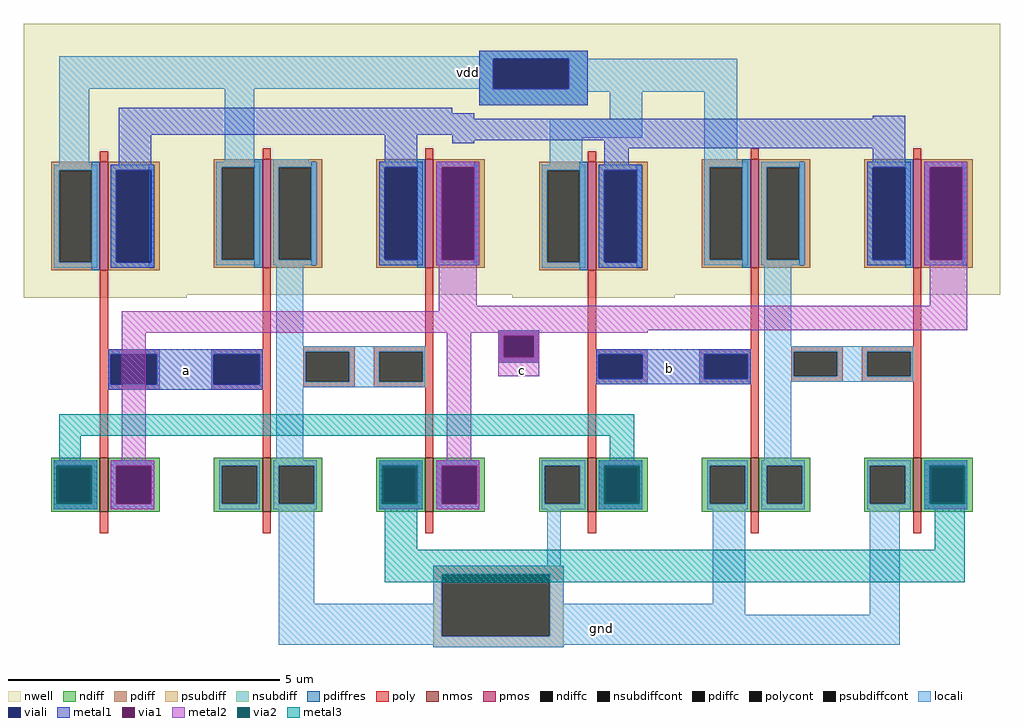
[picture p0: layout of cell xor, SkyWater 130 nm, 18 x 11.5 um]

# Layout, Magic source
magic
tech sky130A
<< nwell >>
rect -350 -100 1450 400
rect -350 -105 -50 -100
rect 550 -105 850 -100
<< nmos >>
rect -210 -500 -195 -400
rect 90 -500 105 -400
rect 390 -500 405 -400
rect 690 -500 705 -400
rect 990 -500 1005 -400
rect 1290 -500 1305 -400
<< pmos >>
rect -210 -55 -195 145
rect 90 -50 105 150
rect 390 -50 405 150
rect 690 -55 705 145
rect 990 -50 1005 150
rect 1290 -50 1305 150
<< ndiff >>
rect -300 -415 -210 -400
rect -300 -485 -290 -415
rect -225 -485 -210 -415
rect -300 -500 -210 -485
rect -195 -415 -100 -400
rect -195 -485 -180 -415
rect -115 -485 -100 -415
rect -195 -500 -100 -485
rect 0 -415 90 -400
rect 0 -485 15 -415
rect 80 -485 90 -415
rect 0 -500 90 -485
rect 105 -415 200 -400
rect 105 -485 120 -415
rect 185 -485 200 -415
rect 105 -500 200 -485
rect 300 -415 390 -400
rect 300 -485 310 -415
rect 375 -485 390 -415
rect 300 -500 390 -485
rect 405 -415 500 -400
rect 405 -485 420 -415
rect 485 -485 500 -415
rect 405 -500 500 -485
rect 600 -415 690 -400
rect 600 -485 610 -415
rect 675 -485 690 -415
rect 600 -500 690 -485
rect 705 -415 800 -400
rect 705 -485 720 -415
rect 785 -485 800 -415
rect 705 -500 800 -485
rect 900 -415 990 -400
rect 900 -485 915 -415
rect 980 -485 990 -415
rect 900 -500 990 -485
rect 1005 -415 1100 -400
rect 1005 -485 1020 -415
rect 1085 -485 1100 -415
rect 1005 -500 1100 -485
rect 1200 -415 1290 -400
rect 1200 -485 1210 -415
rect 1275 -485 1290 -415
rect 1200 -500 1290 -485
rect 1305 -415 1400 -400
rect 1305 -485 1320 -415
rect 1385 -485 1400 -415
rect 1305 -500 1400 -485
<< pdiff >>
rect -300 130 -225 145
rect -300 -40 -285 130
rect -300 -55 -225 -40
rect -195 140 -100 145
rect -195 130 -120 140
rect -195 -40 -180 130
rect -195 -50 -120 -40
rect -110 -50 -100 140
rect 0 135 75 150
rect 0 -35 15 135
rect 0 -50 75 -35
rect 105 145 200 150
rect 105 135 180 145
rect 105 -35 120 135
rect 105 -45 180 -35
rect 190 -45 200 145
rect 105 -50 200 -45
rect 300 135 375 150
rect 300 -35 315 135
rect 300 -50 375 -35
rect 405 145 500 150
rect 405 135 480 145
rect 405 -35 420 135
rect 405 -45 480 -35
rect 490 -45 500 145
rect 405 -50 500 -45
rect 600 130 675 145
rect 600 -40 615 130
rect -195 -55 -100 -50
rect 600 -55 675 -40
rect 705 140 800 145
rect 705 130 780 140
rect 705 -40 720 130
rect 705 -50 780 -40
rect 790 -50 800 140
rect 900 135 975 150
rect 900 -35 915 135
rect 900 -50 975 -35
rect 1005 145 1100 150
rect 1005 135 1080 145
rect 1005 -35 1020 135
rect 1005 -45 1080 -35
rect 1090 -45 1100 145
rect 1005 -50 1100 -45
rect 1200 135 1275 150
rect 1200 -35 1215 135
rect 1200 -50 1275 -35
rect 1305 145 1400 150
rect 1305 135 1380 145
rect 1305 -35 1320 135
rect 1305 -45 1380 -35
rect 1390 -45 1400 145
rect 1305 -50 1400 -45
rect 705 -55 800 -50
<< ndiffc >>
rect -290 -485 -225 -415
rect -180 -485 -115 -415
rect 15 -485 80 -415
rect 120 -485 185 -415
rect 310 -485 375 -415
rect 420 -485 485 -415
rect 610 -485 675 -415
rect 720 -485 785 -415
rect 915 -485 980 -415
rect 1020 -485 1085 -415
rect 1210 -485 1275 -415
rect 1320 -485 1385 -415
<< pdiffc >>
rect -285 -40 -225 130
rect -180 -40 -120 130
rect 15 -35 75 135
rect 120 -35 180 135
rect 315 -35 375 135
rect 420 -35 480 135
rect 615 -40 675 130
rect 720 -40 780 130
rect 915 -35 975 135
rect 1020 -35 1080 135
rect 1215 -35 1275 135
rect 1320 -35 1380 135
<< psubdiff >>
rect 405 -615 645 -600
rect 405 -730 420 -615
rect 620 -730 645 -615
rect 405 -750 645 -730
<< nsubdiff >>
rect 490 335 690 350
rect 490 280 515 335
rect 655 280 690 335
rect 490 250 690 280
<< psubdiffcont >>
rect 420 -730 620 -615
<< nsubdiffcont >>
rect 515 280 655 335
<< poly >>
rect -210 145 -195 165
rect 90 150 105 170
rect 390 150 405 170
rect 690 145 705 165
rect 990 150 1005 170
rect 1290 150 1305 170
rect -210 -200 -195 -55
rect 90 -200 105 -50
rect 390 -195 405 -50
rect -210 -210 -100 -200
rect -210 -265 -190 -210
rect -105 -265 -100 -210
rect -210 -275 -100 -265
rect -5 -210 105 -200
rect -5 -265 0 -210
rect 85 -265 105 -210
rect -5 -275 105 -265
rect 165 -205 260 -195
rect 165 -260 170 -205
rect 250 -260 260 -205
rect 165 -270 260 -260
rect 295 -205 405 -195
rect 295 -260 305 -205
rect 385 -260 405 -205
rect 525 -175 600 -165
rect 525 -215 535 -175
rect 590 -215 600 -175
rect 525 -225 600 -215
rect 690 -200 705 -55
rect 990 -200 1005 -50
rect 1290 -195 1305 -50
rect 690 -210 800 -200
rect 295 -270 405 -260
rect -210 -400 -195 -275
rect 90 -400 105 -275
rect 390 -400 405 -270
rect 690 -255 710 -210
rect 790 -255 800 -210
rect 690 -265 800 -255
rect 895 -210 1005 -200
rect 895 -255 905 -210
rect 985 -255 1005 -210
rect 895 -265 1005 -255
rect 1065 -205 1160 -195
rect 1065 -250 1070 -205
rect 1150 -250 1160 -205
rect 1065 -260 1160 -250
rect 1195 -205 1305 -195
rect 1195 -250 1205 -205
rect 1285 -250 1305 -205
rect 1195 -260 1305 -250
rect 690 -400 705 -265
rect 990 -400 1005 -265
rect 1290 -400 1305 -260
rect -210 -540 -195 -500
rect 90 -540 105 -500
rect 390 -540 405 -500
rect 690 -540 705 -500
rect 990 -540 1005 -500
rect 1290 -540 1305 -500
<< polycont >>
rect -190 -265 -105 -210
rect 0 -265 85 -210
rect 170 -260 250 -205
rect 305 -260 385 -205
rect 535 -215 590 -175
rect 710 -255 790 -210
rect 905 -255 985 -210
rect 1070 -250 1150 -205
rect 1205 -250 1285 -205
<< pdiffres >>
rect -225 -55 -210 145
rect -120 -50 -110 140
rect 75 -50 90 150
rect 180 -45 190 145
rect 375 -50 390 150
rect 480 -45 490 145
rect 675 -55 690 145
rect 780 -50 790 140
rect 975 -50 990 150
rect 1080 -45 1090 145
rect 1275 -50 1290 150
rect 1380 -45 1390 145
<< locali >>
rect 490 340 690 350
rect -285 335 690 340
rect -285 280 515 335
rect 655 280 965 335
rect -285 140 -230 280
rect 20 145 75 280
rect 490 275 965 280
rect 490 250 690 275
rect 730 225 790 275
rect 620 190 790 225
rect 110 145 175 150
rect -295 130 -215 140
rect -295 -40 -285 130
rect -225 -40 -215 130
rect -295 -50 -215 -40
rect -190 130 -110 140
rect -190 -40 -180 130
rect -115 -40 -110 130
rect -190 -50 -110 -40
rect 5 135 85 145
rect 5 -35 15 135
rect 75 -35 85 135
rect 5 -45 85 -35
rect 110 135 190 145
rect 110 -35 120 135
rect 180 -35 190 135
rect 110 -45 190 -35
rect 305 135 385 145
rect 305 -35 315 135
rect 375 -35 385 135
rect 305 -45 385 -35
rect 410 135 490 145
rect 620 140 680 190
rect 905 145 965 275
rect 410 -35 420 135
rect 480 -35 490 135
rect 410 -45 490 -35
rect 605 130 685 140
rect 605 -40 615 130
rect 675 -40 685 130
rect 115 -195 165 -45
rect 605 -50 685 -40
rect 710 130 790 140
rect 710 -40 720 130
rect 780 -40 790 130
rect 710 -50 790 -40
rect 905 135 985 145
rect 905 -35 915 135
rect 975 -35 985 135
rect 905 -45 985 -35
rect 1010 135 1090 145
rect 1010 -35 1020 135
rect 1080 -35 1090 135
rect 1010 -45 1090 -35
rect 1205 135 1285 145
rect 1205 -35 1215 135
rect 1275 -35 1285 135
rect 1205 -45 1285 -35
rect 1310 135 1390 145
rect 1310 -35 1320 135
rect 1380 -35 1390 135
rect 1310 -45 1390 -35
rect 525 -175 600 -165
rect -195 -210 -100 -200
rect -195 -265 -190 -210
rect -105 -265 -100 -210
rect -195 -275 -100 -265
rect -5 -210 90 -200
rect -5 -265 0 -210
rect 85 -265 90 -210
rect -5 -275 90 -265
rect 115 -205 390 -195
rect 115 -260 170 -205
rect 250 -260 305 -205
rect 385 -260 390 -205
rect 525 -215 535 -175
rect 590 -215 600 -175
rect 1015 -195 1065 -45
rect 525 -225 600 -215
rect 705 -210 800 -200
rect 115 -270 390 -260
rect 705 -255 710 -210
rect 790 -255 800 -210
rect 705 -265 800 -255
rect 895 -210 990 -200
rect 895 -255 905 -210
rect 985 -255 990 -210
rect 895 -265 990 -255
rect 1015 -205 1290 -195
rect 1015 -250 1070 -205
rect 1150 -250 1205 -205
rect 1285 -250 1290 -205
rect 1015 -260 1290 -250
rect 115 -405 165 -270
rect 1015 -405 1065 -260
rect -295 -415 -215 -405
rect -295 -485 -290 -415
rect -225 -485 -215 -415
rect -295 -495 -215 -485
rect -190 -415 -110 -405
rect -190 -485 -180 -415
rect -115 -485 -110 -415
rect -190 -495 -110 -485
rect 10 -415 85 -405
rect 10 -485 15 -415
rect 80 -485 85 -415
rect 10 -495 85 -485
rect 110 -415 190 -405
rect 110 -485 120 -415
rect 185 -485 190 -415
rect 110 -495 190 -485
rect 305 -415 385 -405
rect 305 -485 310 -415
rect 375 -485 385 -415
rect 305 -495 385 -485
rect 410 -415 490 -405
rect 410 -485 420 -415
rect 485 -485 490 -415
rect 410 -495 490 -485
rect 605 -415 685 -405
rect 605 -485 610 -415
rect 675 -485 685 -415
rect 605 -495 685 -485
rect 710 -415 790 -405
rect 710 -485 720 -415
rect 785 -485 790 -415
rect 710 -495 790 -485
rect 910 -415 985 -405
rect 910 -485 915 -415
rect 980 -485 985 -415
rect 910 -495 985 -485
rect 1010 -415 1090 -405
rect 1010 -485 1020 -415
rect 1085 -485 1090 -415
rect 1010 -495 1090 -485
rect 1205 -415 1285 -405
rect 1205 -485 1210 -415
rect 1275 -485 1285 -415
rect 1205 -495 1285 -485
rect 1310 -415 1390 -405
rect 1310 -485 1320 -415
rect 1385 -485 1390 -415
rect 1310 -495 1390 -485
rect 120 -670 185 -495
rect 615 -600 640 -495
rect 405 -615 645 -600
rect 405 -670 420 -615
rect 120 -730 420 -670
rect 620 -670 645 -615
rect 920 -670 980 -495
rect 620 -690 980 -670
rect 1210 -690 1265 -495
rect 620 -730 1265 -690
rect 120 -745 1265 -730
rect 405 -750 645 -745
<< viali >>
rect 515 280 655 335
rect -180 -40 -120 130
rect -120 -40 -115 130
rect 315 -35 375 135
rect 420 -35 480 135
rect 720 -40 780 130
rect 1215 -35 1275 135
rect 1320 -35 1380 135
rect -190 -265 -105 -210
rect 0 -265 85 -210
rect 535 -215 590 -175
rect 710 -255 790 -210
rect 905 -255 985 -210
rect -290 -485 -225 -415
rect -180 -485 -115 -415
rect 310 -485 375 -415
rect 420 -485 485 -415
rect 720 -485 785 -415
rect 1320 -485 1385 -415
<< metal1 >>
rect 490 335 690 350
rect 490 280 515 335
rect 655 280 690 335
rect 490 250 690 280
rect -175 235 440 245
rect -175 225 480 235
rect 1215 225 1275 230
rect -175 195 1275 225
rect -175 140 -115 195
rect 315 145 375 195
rect 440 185 1275 195
rect 440 180 480 185
rect 720 170 1275 185
rect -190 130 -110 140
rect -190 -40 -180 130
rect -115 -40 -110 130
rect -190 -50 -110 -40
rect 305 135 385 145
rect 305 -35 315 135
rect 375 -35 385 135
rect 305 -45 385 -35
rect 410 135 490 145
rect 720 140 765 170
rect 1215 145 1275 170
rect 410 -35 420 135
rect 480 -35 490 135
rect 410 -45 490 -35
rect 710 130 790 140
rect 710 -40 720 130
rect 780 -40 790 130
rect 710 -50 790 -40
rect 1205 135 1285 145
rect 1205 -35 1215 135
rect 1275 -35 1285 135
rect 1205 -45 1285 -35
rect 1310 135 1390 145
rect 1310 -35 1320 135
rect 1380 -35 1390 135
rect 1310 -45 1390 -35
rect 525 -175 600 -165
rect -195 -210 90 -200
rect -195 -265 -190 -210
rect -105 -265 0 -210
rect 85 -265 90 -210
rect 525 -215 535 -175
rect 590 -215 600 -175
rect 525 -225 600 -215
rect 705 -210 990 -200
rect 705 -255 710 -210
rect 790 -255 905 -210
rect 985 -255 990 -210
rect 705 -265 990 -255
rect -195 -275 90 -265
rect -295 -415 -215 -405
rect -295 -485 -290 -415
rect -225 -485 -215 -415
rect -295 -495 -215 -485
rect -190 -415 -110 -405
rect -190 -485 -180 -415
rect -115 -485 -110 -415
rect -190 -495 -110 -485
rect 305 -415 385 -405
rect 305 -485 310 -415
rect 375 -485 385 -415
rect 305 -495 385 -485
rect 410 -415 490 -405
rect 410 -485 420 -415
rect 485 -485 490 -415
rect 410 -495 490 -485
rect 710 -415 790 -405
rect 710 -485 720 -415
rect 785 -485 790 -415
rect 710 -495 790 -485
rect 1310 -415 1390 -405
rect 1310 -485 1320 -415
rect 1385 -485 1390 -415
rect 1310 -495 1390 -485
<< via1 >>
rect 420 -35 480 135
rect 1320 -35 1380 135
rect 535 -215 590 -175
rect -290 -485 -225 -415
rect -180 -485 -115 -415
rect 310 -485 375 -415
rect 420 -485 485 -415
rect 720 -485 785 -415
rect 1320 -485 1385 -415
<< metal2 >>
rect 410 135 490 145
rect 410 -35 420 135
rect 480 -35 490 135
rect 410 -45 490 -35
rect 1310 135 1390 145
rect 1310 -35 1320 135
rect 1380 -35 1390 135
rect 1310 -45 1390 -35
rect 415 -120 485 -45
rect 1320 -120 1390 -45
rect 415 -130 1390 -120
rect -170 -165 1390 -130
rect -170 -170 800 -165
rect -170 -405 -125 -170
rect 430 -405 475 -170
rect 525 -175 600 -170
rect 525 -215 535 -175
rect 590 -215 600 -175
rect 525 -250 600 -215
rect -295 -415 -215 -405
rect -295 -485 -290 -415
rect -225 -485 -215 -415
rect -295 -495 -215 -485
rect -190 -415 -110 -405
rect -190 -485 -180 -415
rect -115 -485 -110 -415
rect -190 -495 -110 -485
rect 305 -415 385 -405
rect 305 -485 310 -415
rect 375 -485 385 -415
rect 305 -495 385 -485
rect 410 -415 490 -405
rect 410 -485 420 -415
rect 485 -485 490 -415
rect 410 -495 490 -485
rect 710 -415 790 -405
rect 710 -485 720 -415
rect 785 -485 790 -415
rect 710 -495 790 -485
rect 1310 -415 1390 -405
rect 1310 -485 1320 -415
rect 1385 -485 1390 -415
rect 1310 -495 1390 -485
<< via2 >>
rect -290 -485 -225 -415
rect 310 -485 375 -415
rect 720 -485 785 -415
rect 1320 -485 1385 -415
<< metal3 >>
rect -285 -360 775 -320
rect -285 -405 -245 -360
rect 730 -405 775 -360
rect -295 -415 -215 -405
rect -295 -485 -290 -415
rect -225 -485 -215 -415
rect -295 -495 -215 -485
rect 305 -415 385 -405
rect 305 -485 310 -415
rect 375 -485 385 -415
rect 305 -495 385 -485
rect 710 -415 790 -405
rect 710 -485 720 -415
rect 785 -485 790 -415
rect 710 -495 790 -485
rect 1310 -415 1390 -405
rect 1310 -485 1320 -415
rect 1385 -485 1390 -415
rect 1310 -495 1390 -485
rect 315 -570 375 -495
rect 1330 -570 1385 -495
rect 315 -630 1385 -570
<< labels >>
rlabel metal2 570 -240 570 -240 1 c
port 1 n
rlabel metal1 -50 -240 -50 -240 1 a
port 2 n
rlabel metal1 840 -235 840 -235 1 b
port 3 n
rlabel locali 715 -715 715 -715 1 gnd
port 4 n
rlabel locali 470 310 470 310 1 vdd
port 5 n
<< end >>
